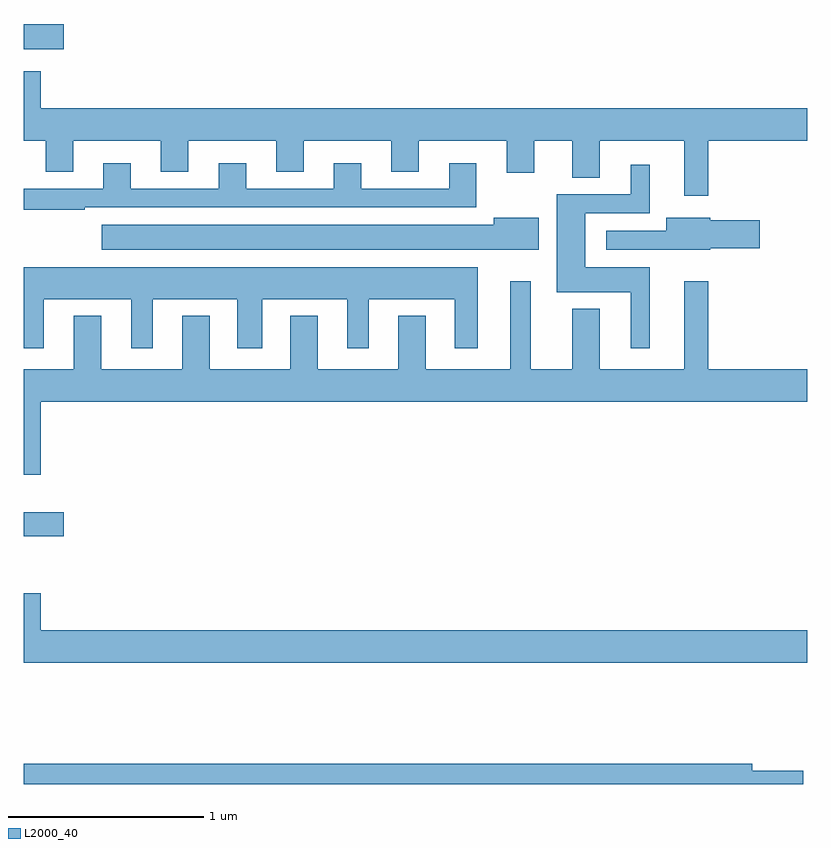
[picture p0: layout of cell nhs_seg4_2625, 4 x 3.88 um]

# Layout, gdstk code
import gdstk
lib = gdstk.Library(unit=1e-6, precision=1e-09)
def R(c, l, rs):  # rectangles x0, y0, x1, y1
    for r in rs: c.add(gdstk.rectangle(r[:2], r[2:], *l))
def P(c, l, *ps):  # polygons
    for p in ps: c.add(gdstk.Polygon(p, *l))
L2000_40 = (2000, 40)

nhs_seg4_2625 = lib.new_cell('nhs_seg4_2625')
R(nhs_seg4_2625, L2000_40, [(249,764.165,249.205,764.287), (249,766.649,249.205,766.779)])
P(nhs_seg4_2625, L2000_40, [(249.088,766.537),(249,766.537),(249,766.184),(249.113,766.184),(249.113,766.024),(249.253,766.024),(249.253,766.184),(249.701,766.184),(249.701,766.024),(249.841,766.024),(249.841,766.184),(250.289,766.184),(250.289,766.024),(250.429,766.024),(250.429,766.184),(250.877,766.184),(250.877,766.024),(251.017,766.024),(251.017,766.184),(251.465,766.184),(251.465,766.02),(251.605,766.02),(251.605,766.184),(251.801,766.184),(251.801,765.994),(251.941,765.994),(251.941,766.184),(252.371,766.184),(252.371,765.903),(252.493,765.903),(252.493,766.184),(253,766.184),(253,766.348),(249.088,766.348)],
  [(249.311,765.843),(251.311,765.843),(251.311,766.069),(251.171,766.069),(251.171,765.939),(250.723,765.939),(250.723,766.069),(250.583,766.069),(250.583,765.939),(250.135,765.939),(250.135,766.069),(249.995,766.069),(249.995,765.939),(249.547,765.939),(249.547,766.069),(249.407,766.069),(249.407,765.939),(249,765.939),(249,765.831),(249.311,765.831)],
  [(252.196,765.538),(251.866,765.538),(251.866,765.813),(252.196,765.813),(252.196,766.06),(252.098,766.06),(252.098,765.909),(251.72,765.909),(251.72,765.41),(252.098,765.41),(252.098,765.123),(252.196,765.123)],
  [(252.504,765.635),(252.757,765.635),(252.757,765.777),(252.504,765.777),(252.504,765.79),(252.281,765.79),(252.281,765.723),(251.973,765.723),(251.973,765.627),(252.285,765.627),(252.285,765.626),(252.504,765.626)],
  [(251.629,765.79),(251.399,765.79),(251.399,765.754),(249.399,765.754),(249.399,765.626),(251.629,765.626)],
  [(249.103,765.374),(249.548,765.374),(249.548,765.123),(249.658,765.123),(249.658,765.374),(250.091,765.374),(250.091,765.123),(250.219,765.123),(250.219,765.374),(250.652,765.374),(250.652,765.123),(250.762,765.123),(250.762,765.374),(251.201,765.374),(251.201,765.123),(251.317,765.123),(251.317,765.538),(249,765.538),(249,765.123),(249.103,765.123)],
  [(249.088,764.852),(253,764.852),(253,765.016),(252.493,765.016),(252.493,765.466),(252.371,765.466),(252.371,765.016),(251.941,765.016),(251.941,765.325),(251.801,765.325),(251.801,765.016),(251.587,765.016),(251.587,765.466),(251.483,765.466),(251.483,765.016),(251.053,765.016),(251.053,765.289),(250.913,765.289),(250.913,765.016),(250.501,765.016),(250.501,765.289),(250.361,765.289),(250.361,765.016),(249.949,765.016),(249.949,765.289),(249.809,765.289),(249.809,765.016),(249.397,765.016),(249.397,765.289),(249.257,765.289),(249.257,765.016),(249,765.016),(249,764.478),(249.088,764.478)],
  [(253,763.684),(249.088,763.684),(249.088,763.873),(249,763.873),(249,763.52),(253,763.52)],
  [(252.979,762.968),(252.718,762.968),(252.718,763.004),(249,763.004),(249,762.9),(252.979,762.9)])

lib.write_gds('nhs_seg4_2625.gds')
